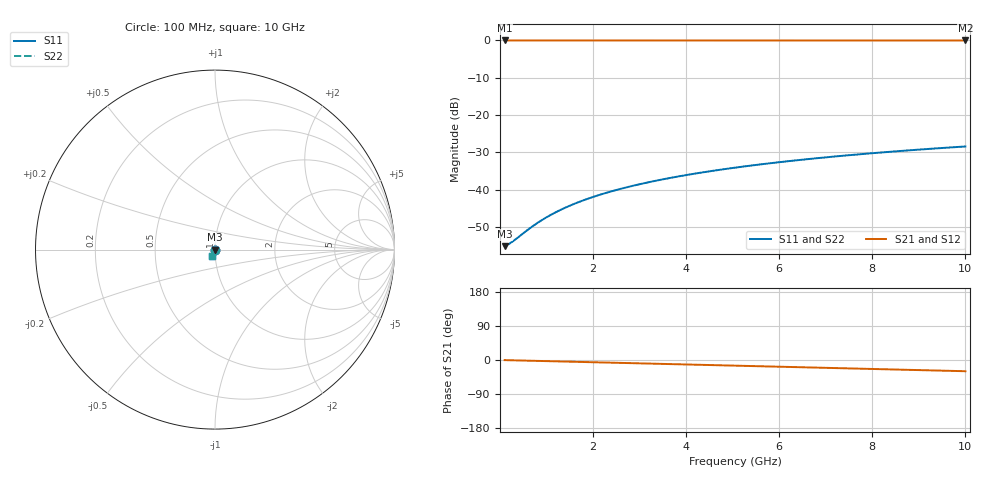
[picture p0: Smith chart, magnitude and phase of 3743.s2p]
# Hz S RI R 50.00
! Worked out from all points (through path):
!   100 points, 100 MHz to 10 GHz, reference 50 ohm
!   highest |S21| = -0.01 dB at 100 MHz (marker M1); lowest = 0.0 dB at 10 GHz (marker M2)
!   group delay of S21, straight-line fit = 8.23 ps
!   lowest |S11| = -55.1 dB at 100 MHz (marker M3), VSWR 1.00, Z = 50.2 - j0.04 ohm
!   |S11| at or under -10 dB: start of sweep to end of sweep
!   |S22| runs from -55.1 to -28.4 dB; largest |S21 - S12| = 0
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1e8  0.00171 -0.000398  0.9983 -0.00513  0.9983 -0.00513  0.00171 -0.000398
2e8  0.00171 -0.000796  0.9982 -0.0103  0.9982 -0.0103  0.00171 -0.000796
3e8  0.0017 -0.00119  0.9981 -0.0154  0.9981 -0.0154  0.0017 -0.00119
7e8  0.00164 -0.00279  0.9976 -0.0359  0.9976 -0.0359  0.00164 -0.00279
8e8  0.00161 -0.00319  0.9974 -0.041  0.9974 -0.041  0.00161 -0.00319
1e9  0.00154 -0.00398  0.9969 -0.0513  0.9969 -0.0513  0.00154 -0.00398
1.2e9  0.00145 -0.00478  0.9963 -0.0615  0.9963 -0.0615  0.00145 -0.00478
1.4e9  0.00134 -0.00557  0.9956 -0.0717  0.9956 -0.0717  0.00134 -0.00557
1.6e9  0.00122 -0.00636  0.9948 -0.082  0.9948 -0.082  0.00122 -0.00636
1.8e9  0.00109 -0.00715  0.9939 -0.0922  0.9939 -0.0922  0.00109 -0.00715
2.1e9  0.000849 -0.00833  0.9923 -0.1075  0.9923 -0.1075  0.000849 -0.00833
2.5e9  0.000475 -0.00989  0.9898 -0.1279  0.9898 -0.1279  0.000475 -0.00989
2.9e9  3.74e-05 -0.0114  0.987 -0.1483  0.987 -0.1483  3.74e-05 -0.0114
3.4e9  -0.0006 -0.0134  0.9828 -0.1736  0.9828 -0.1736  -0.0006 -0.0134
3.8e9  -0.00118 -0.0149  0.9789 -0.1938  0.9789 -0.1938  -0.00118 -0.0149
4.2e9  -0.00182 -0.0164  0.9747 -0.214  0.9747 -0.214  -0.00182 -0.0164
5.1e9  -0.00349 -0.0196  0.9636 -0.259  0.9636 -0.259  -0.00349 -0.0196
5.9e9  -0.00523 -0.0224  0.9519 -0.2986  0.9519 -0.2986  -0.00523 -0.0224
6.7e9  -0.00719 -0.025  0.9386 -0.3378  0.9386 -0.3378  -0.00719 -0.025
7.5e9  -0.00935 -0.0274  0.9237 -0.3764  0.9237 -0.3764  -0.00935 -0.0274
8.4e9  -0.012 -0.0299  0.905 -0.4191  0.905 -0.4191  -0.012 -0.0299
1e10  -0.0173 -0.0337  0.8667 -0.4928  0.8667 -0.4928  -0.0173 -0.0337
